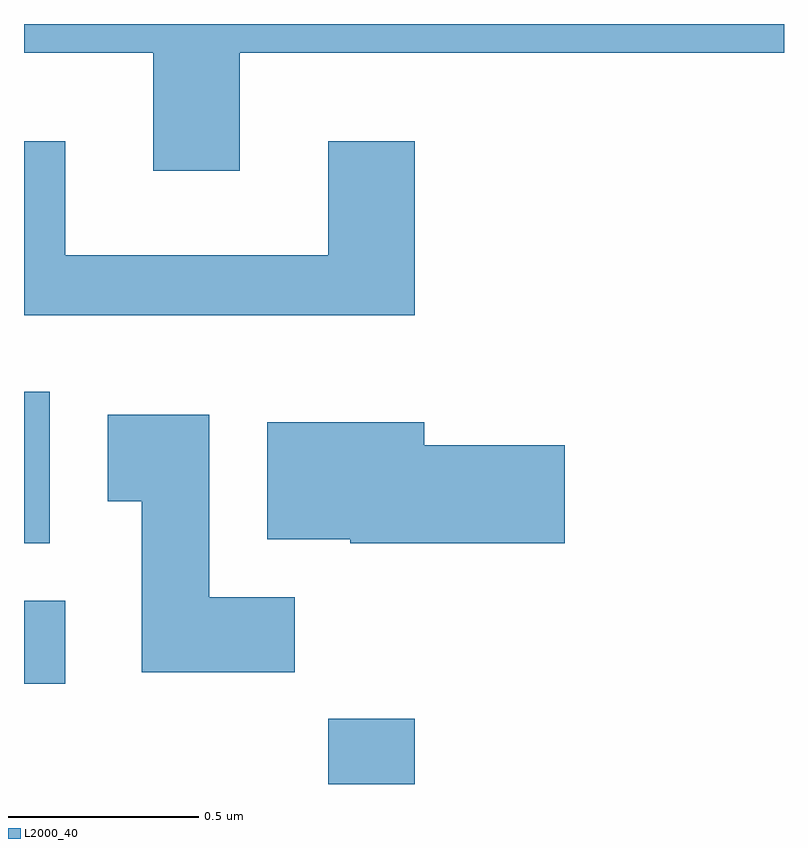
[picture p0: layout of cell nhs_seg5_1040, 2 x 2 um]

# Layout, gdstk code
import gdstk
lib = gdstk.Library(unit=1e-6, precision=1e-09)
def R(c, l, rs):  # rectangles x0, y0, x1, y1
    for r in rs: c.add(gdstk.rectangle(r[:2], r[2:], *l))
def P(c, l, *ps):  # polygons
    for p in ps: c.add(gdstk.Polygon(p, *l))
L2000_40 = (2000, 40)

nhs_seg5_1040 = lib.new_cell('nhs_seg5_1040')
R(nhs_seg5_1040, L2000_40, [(193.411,1477.072,193.639,1477.244), (192.611,1477.336,192.719,1477.554), (192.611,1477.706,192.679,1478.104)])
P(nhs_seg5_1040, L2000_40, [(193.179,1478.996),(194.611,1478.996),(194.611,1479.072),(192.611,1479.072),(192.611,1478.996),(192.951,1478.996),(192.951,1478.686),(193.179,1478.686)],
  [(193.639,1478.764),(193.411,1478.764),(193.411,1478.464),(192.719,1478.464),(192.719,1478.764),(192.611,1478.764),(192.611,1478.306),(193.639,1478.306)],
  [(193.324,1477.564),(193.099,1477.564),(193.099,1478.044),(192.831,1478.044),(192.831,1477.816),(192.921,1477.816),(192.921,1477.366),(193.324,1477.366)],
  [(194.034,1477.964),(193.664,1477.964),(193.664,1478.024),(193.251,1478.024),(193.251,1477.716),(193.47,1477.716),(193.47,1477.706),(194.034,1477.706)])

lib.write_gds('nhs_seg5_1040.gds')
